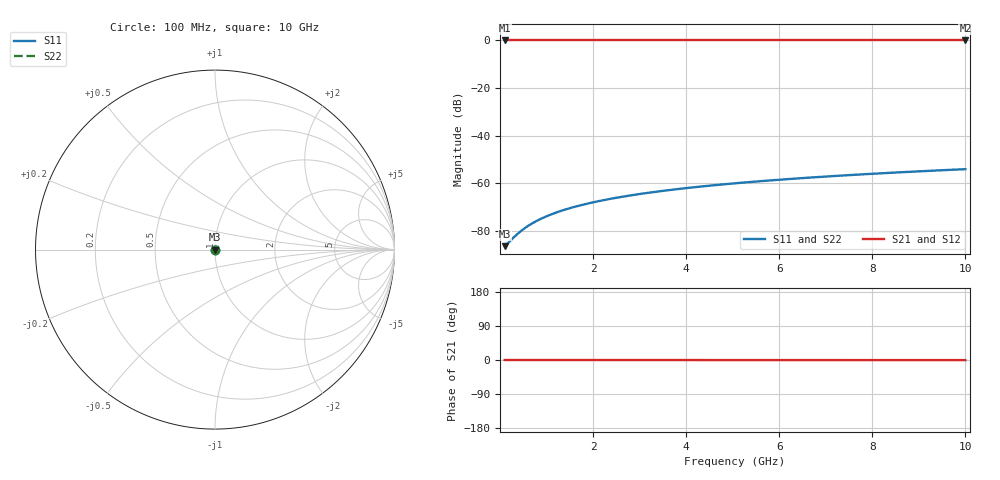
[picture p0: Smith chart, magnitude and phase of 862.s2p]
# Hz S RI R 50.00
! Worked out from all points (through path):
!   100 points, 100 MHz to 10 GHz, reference 50 ohm
!   highest |S21| = 0.00 dB at 100 MHz (marker M1); lowest = 0.0 dB at 10 GHz (marker M2)
!   lowest |S11| = -86.4 dB at 100 MHz (marker M3), VSWR 1.00, Z = 50 + j0.00197 ohm
!   |S11| at or under -10 dB: start of sweep to end of sweep
!   |S22| runs from -86.4 to -54.1 dB; largest |S21 - S12| = 0
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1e8  4.34e-05 1.97e-05  1 -5.3e-05  1 -5.3e-05  4.34e-05 1.97e-05
4e8  4.4e-05 7.88e-05  1 -0.000212  1 -0.000212  4.4e-05 7.88e-05
5e8  4.42e-05 9.85e-05  1 -0.000265  1 -0.000265  4.42e-05 9.85e-05
6e8  4.43e-05 0.000118  1 -0.000318  1 -0.000318  4.43e-05 0.000118
7e8  4.44e-05 0.000138  1 -0.000371  1 -0.000371  4.44e-05 0.000138
8e8  4.45e-05 0.000158  1 -0.000424  1 -0.000424  4.45e-05 0.000158
9e8  4.46e-05 0.000177  1 -0.000477  1 -0.000477  4.46e-05 0.000177
1.1e9  4.48e-05 0.000217  1 -0.000583  1 -0.000583  4.48e-05 0.000217
1.4e9  4.51e-05 0.000276  1 -0.000742  1 -0.000742  4.51e-05 0.000276
1.6e9  4.53e-05 0.000315  1 -0.000848  1 -0.000848  4.53e-05 0.000315
1.8e9  4.55e-05 0.000355  1 -0.000954  1 -0.000954  4.55e-05 0.000355
2.1e9  4.57e-05 0.000414  1 -0.00111  1 -0.00111  4.57e-05 0.000414
2.5e9  4.61e-05 0.000493  1 -0.00133  1 -0.00133  4.61e-05 0.000493
2.9e9  4.65e-05 0.000571  1 -0.00154  1 -0.00154  4.65e-05 0.000571
3.4e9  4.7e-05 0.00067  1 -0.0018  1 -0.0018  4.7e-05 0.00067
4.2e9  4.8e-05 0.000828  0.9999 -0.00223  0.9999 -0.00223  4.8e-05 0.000828
5.1e9  4.91e-05 0.00101  0.9999 -0.00271  0.9999 -0.00271  4.91e-05 0.00101
5.9e9  5.03e-05 0.00116  0.9999 -0.00313  0.9999 -0.00313  5.03e-05 0.00116
6.7e9  5.16e-05 0.00132  0.9999 -0.00356  0.9999 -0.00356  5.16e-05 0.00132
7.5e9  5.31e-05 0.00148  0.9999 -0.00399  0.9999 -0.00399  5.31e-05 0.00148
8.4e9  5.49e-05 0.00166  0.9999 -0.00447  0.9999 -0.00447  5.49e-05 0.00166
1e10  5.85e-05 0.00198  0.9999 -0.00532  0.9999 -0.00532  5.85e-05 0.00198
